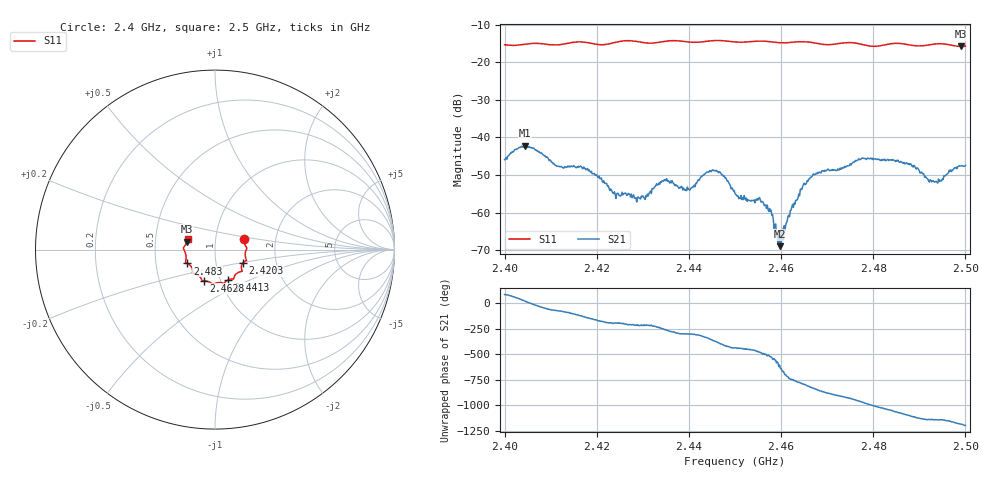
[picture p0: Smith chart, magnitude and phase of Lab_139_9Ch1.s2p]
# Hz S RI R 50
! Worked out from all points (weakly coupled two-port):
!   601 points, 2.4 GHz to 2.5 GHz, reference 50 ohm
!   highest |S21| = -42.20 dB at 2.4045 GHz (marker M1); lowest = -68.9 dB at 2.4597 GHz (marker M2)
!   lowest |S11| = -15.8 dB at 2.499 GHz (marker M3), VSWR 1.39, Z = 36.4 + j3.37 ohm
!   |S11| at or under -10 dB: start of sweep to end of sweep
!   S12 and S22 are empty: the file has one direction only
!   S11 on the Smith chart (normalised r, x): 2.4 GHz: 1.37, +0.16; 2.4203 GHz: 1.35, -0.21; 2.4413 GHz: 1.09, -0.38; 2.4628 GHz: 0.83, -0.30; 2.483 GHz: 0.72, -0.11; 2.5 GHz: 0.73, +0.09
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2.4e9  0.1609 0.0568  0.000539 0.00504  0 0  0 0
2.4045e9  0.1733 0.0151  0.00737 0.00243  0 0  0 0
2.4115e9  0.168 -0.0263  0.00104 -0.004  0 0  0 0
2.416667e9  0.1759 -0.0615  -0.00228 -0.00339  0 0  0 0
2.420333e9  0.1552 -0.074  -0.00291 -0.000334  0 0  0 0
2.423833e9  0.148 -0.1071  -0.00184 0.00046  0 0  0 0
2.428667e9  0.1436 -0.1227  -0.00111 0.000831  0 0  0 0
2.433333e9  0.1081 -0.1482  -0.00125 0.002  0 0  0 0
2.441333e9  0.0744 -0.1683  0.00136 0.00175  0 0  0 0
2.445667e9  0.0504 -0.1879  0.00347 -0.000865  0 0  0 0
2.45e9  0.0293 -0.1838  0.00039 -0.00176  0 0  0 0
2.455667e9  -0.0109 -0.1909  -0.00083 -0.0011  0 0  0 0
2.457667e9  -0.0211 -0.1861  -0.00101 -0.000261  0 0  0 0
2.459667e9  -0.0363 -0.1782  -0.000141 0.00033  0 0  0 0
2.462833e9  -0.0629 -0.1746  0.00102 -0.000861  0 0  0 0
2.466667e9  -0.0742 -0.1675  -0.000951 -0.00286  0 0  0 0
2.477333e9  -0.1241 -0.1216  -0.00209 0.00474  0 0  0 0
2.483e9  -0.1547 -0.0769  0.00395 0.00313  0 0  0 0
2.483333e9  -0.157 -0.0758  0.00403 0.00284  0 0  0 0
2.4935e9  -0.175 0.00364  0.00125 -0.00228  0 0  0 0
2.499e9  -0.1558 0.0451  -0.000993 -0.00405  0 0  0 0
2.5e9  -0.1529 0.0585  -0.00199 -0.00376  0 0  0 0
